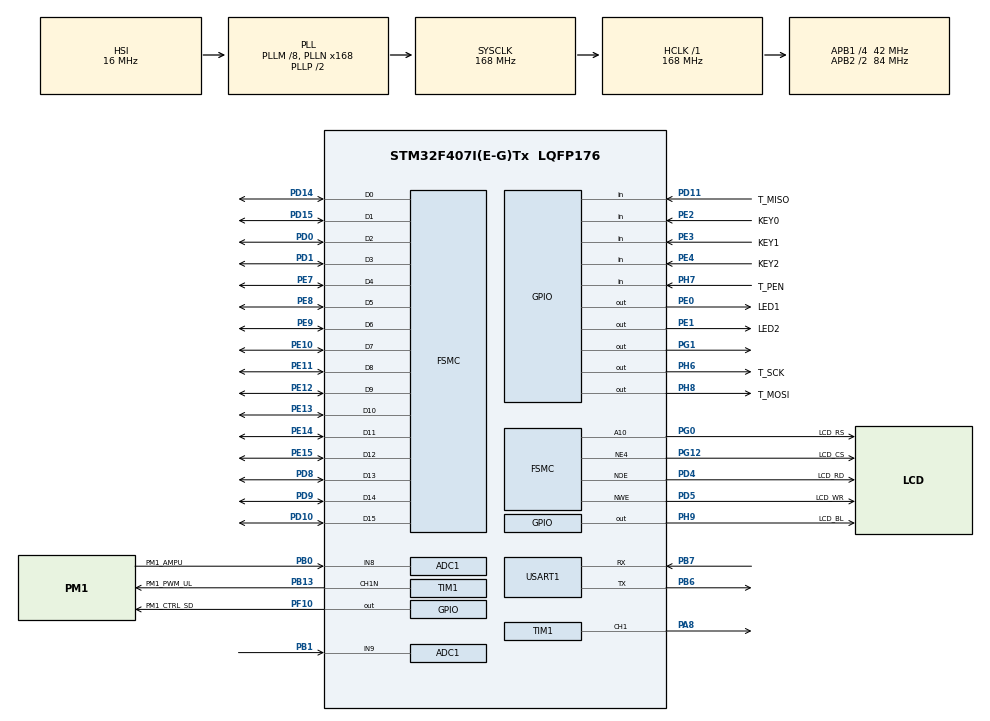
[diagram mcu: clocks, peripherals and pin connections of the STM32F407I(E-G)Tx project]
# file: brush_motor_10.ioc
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ADC1.Channel-0\#ChannelRegularConversion=ADC_CHANNEL_9
ADC1.Channel-1\#ChannelInjectedConversion=ADC_CHANNEL_8
ADC1.ContinuousConvMode=DISABLE
ADC1.DMAContinuousRequests=DISABLE
ADC1.ExternalTrigInjecConv=ADC_EXTERNALTRIGINJECCONV_T1_TRGO
ADC1.InjNumberOfConversion=1
ADC1.InjectedOffset-1\#ChannelInjectedConversion=0
ADC1.InjectedRank-1\#ChannelInjectedConversion=1
ADC1.NbrOfConversion=1
ADC1.NbrOfConversionFlag=1
ADC1.Rank-0\#ChannelRegularConversion=1
ADC1.SamplingTime-0\#ChannelRegularConversion=ADC_SAMPLETIME_28CYCLES
ADC1.SamplingTime-1\#ChannelInjectedConversion=ADC_SAMPLETIME_28CYCLES
ADC1.ScanConvMode=DISABLE
ADC1.master=1
FSMC.AccessMode4=FSMC_ACCESS_MODE_A
FSMC.AddressSetupTime4=2
FSMC.BusTurnAroundDuration4=0
FSMC.DataSetupTime4=5
FSMC.ExtendedAccessMode4=FSMC_ACCESS_MODE_A
FSMC.ExtendedAddressSetupTime4=0
FSMC.ExtendedBusTurnAroundDuration4=0
FSMC.ExtendedDataSetupTime4=255
FSMC.ExtendedMode4=FSMC_EXTENDED_MODE_ENABLE
FSMC.NSBank4=FSMC_NORSRAM_BANK4
FSMC.WriteOperation4=FSMC_WRITE_OPERATION_ENABLE
Mcu.Family=STM32F4
Mcu.Name=STM32F407I(E-G)Tx
Mcu.Package=LQFP176
NVIC.ADC_IRQn=true\:1\:0\:true\:false\:true\:true\:true\:true
NVIC.PriorityGroup=NVIC_PRIORITYGROUP_4
PA13.Mode=Serial_Wire
PA13.Signal=SYS_JTMS-SWDIO
PA14.Mode=Serial_Wire
PA14.Signal=SYS_JTCK-SWCLK
PA8.Signal=S_TIM1_CH1
PB0.GPIO_Label=PM1_AMPU
PB0.Signal=ADCx_IN8
PB1.Signal=ADCx_IN9
PB13.GPIO_Label=PM1_PWM_UL
PB13.GPIO_PuPd=GPIO_NOPULL
PB13.GPIO_Speed=GPIO_SPEED_FREQ_HIGH
PB13.Mode=PWM Generation1 CH1 CH1N
PB13.Signal=TIM1_CH1N
PB6.Mode=Asynchronous
PB6.Signal=USART1_TX
PB7.Mode=Asynchronous
PB7.Signal=USART1_RX
PC14-OSC32_IN.Mode=LSE-External-Oscillator
PC14-OSC32_IN.Signal=RCC_OSC32_IN
PC15-OSC32_OUT.Mode=LSE-External-Oscillator
PC15-OSC32_OUT.Signal=RCC_OSC32_OUT
PC6.GPIO_Label=PM1_ENCA
PC6.GPIO_Speed=GPIO_SPEED_FREQ_HIGH
PC6.Signal=S_TIM3_CH1
PD0.GPIO_PuPd=GPIO_PULLUP
PD0.Signal=FSMC_D2_DA2
PD1.GPIO_PuPd=GPIO_PULLUP
PD1.Signal=FSMC_D3_DA3
PD10.GPIO_PuPd=GPIO_PULLUP
PD10.Signal=FSMC_D15_DA15
PD11.GPIO_Label=T_MISO
PD11.Signal=GPIO_Input
PD14.GPIO_PuPd=GPIO_PULLUP
PD14.Signal=FSMC_D0_DA0
PD15.GPIO_PuPd=GPIO_PULLUP
PD15.Signal=FSMC_D1_DA1
PD4.GPIO_Label=LCD_RD
PD4.GPIO_PuPd=GPIO_PULLUP
PD4.Signal=FSMC_NOE
PD5.GPIO_Label=LCD_WR
PD5.GPIO_PuPd=GPIO_PULLUP
PD5.Signal=FSMC_NWE
PD8.GPIO_PuPd=GPIO_PULLUP
PD8.Signal=FSMC_D13_DA13
PD9.GPIO_PuPd=GPIO_PULLUP
PD9.Signal=FSMC_D14_DA14
PE0.GPIO_Label=LED1
PE0.PinState=GPIO_PIN_SET
PE0.Signal=GPIO_Output
PE1.GPIO_Label=LED2
PE1.PinState=GPIO_PIN_SET
PE1.Signal=GPIO_Output
PE10.GPIO_PuPd=GPIO_PULLUP
PE10.Signal=FSMC_D7_DA7
PE11.GPIO_PuPd=GPIO_PULLUP
PE11.Signal=FSMC_D8_DA8
PE12.GPIO_PuPd=GPIO_PULLUP
PE12.Signal=FSMC_D9_DA9
PE13.GPIO_PuPd=GPIO_PULLUP
PE13.Signal=FSMC_D10_DA10
PE14.GPIO_PuPd=GPIO_PULLUP
PE14.Signal=FSMC_D11_DA11
PE15.GPIO_PuPd=GPIO_PULLUP
PE15.Signal=FSMC_D12_DA12
PE2.GPIO_Label=KEY0
PE2.GPIO_PuPd=GPIO_PULLUP
PE2.Signal=GPIO_Input
PE3.GPIO_Label=KEY1
PE3.GPIO_PuPd=GPIO_PULLUP
PE3.Signal=GPIO_Input
PE4.GPIO_Label=KEY2
PE4.GPIO_PuPd=GPIO_PULLUP
PE4.Signal=GPIO_Input
PE7.GPIO_PuPd=GPIO_PULLUP
PE7.Signal=FSMC_D4_DA4
PE8.GPIO_PuPd=GPIO_PULLUP
PE8.Signal=FSMC_D5_DA5
PE9.GPIO_PuPd=GPIO_PULLUP
PE9.Signal=FSMC_D6_DA6
PF10.GPIO_Label=PM1_CTRL_SD
PF10.Signal=GPIO_Output
PG0.GPIO_Label=LCD_RS
PG0.GPIO_PuPd=GPIO_PULLUP
PG0.Signal=FSMC_A10
PG1.Signal=GPIO_Output
PG12.GPIO_Label=LCD_CS
PG12.GPIO_PuPd=GPIO_PULLUP
PG12.Mode=NorPsramChipSelect4_4
PG12.Signal=FSMC_NE4
PH0-OSC_IN.Mode=HSE-External-Oscillator
PH0-OSC_IN.Signal=RCC_OSC_IN
PH1-OSC_OUT.Mode=HSE-External-Oscillator
PH1-OSC_OUT.Signal=RCC_OSC_OUT
PH13.Signal=TIM8_CH1N
PH6.GPIO_Label=T_SCK
PH6.Signal=GPIO_Output
PH7.GPIO_Label=T_PEN
PH7.Signal=GPIO_Input
PH8.GPIO_Label=T_MOSI
PH8.Signal=GPIO_Output
PH9.GPIO_Label=LCD_BL
PH9.Signal=GPIO_Output
ProjectManager.HeapSize=0x200
ProjectManager.StackSize=0x400
ProjectManager.TargetToolchain=MDK-ARM V5.27
RCC.48MHZClocksFreq_Value=84000000
RCC.AHBFreq_Value=168000000
RCC.APB1CLKDivider=RCC_HCLK_DIV4
RCC.APB1Freq_Value=42000000
RCC.APB1TimFreq_Value=84000000
RCC.APB2CLKDivider=RCC_HCLK_DIV2
RCC.APB2Freq_Value=84000000
RCC.APB2TimFreq_Value=168000000
RCC.CortexFreq_Value=168000000
RCC.FLatency=FLASH_LATENCY_5
RCC.HCLKFreq_Value=168000000
RCC.HSE_VALUE=25000000
RCC.HSI_VALUE=16000000
RCC.PLLM=8
RCC.PLLN=168
RCC.SYSCLKFreq_VALUE=168000000
RCC.SYSCLKSource=RCC_SYSCLKSOURCE_PLLCLK
RCC.VCOOutputFreq_Value=336000000
SH.ADCx_IN8.0=ADC1_IN8,IN8
SH.ADCx_IN9.0=ADC1_IN9,IN9
SH.FSMC_A10.0=FSMC_A10,A10_4
SH.FSMC_D0_DA0.0=FSMC_D0,16b-d4
SH.FSMC_D10_DA10.0=FSMC_D10,16b-d4
SH.FSMC_D11_DA11.0=FSMC_D11,16b-d4
SH.FSMC_D12_DA12.0=FSMC_D12,16b-d4
SH.FSMC_D13_DA13.0=FSMC_D13,16b-d4
SH.FSMC_D14_DA14.0=FSMC_D14,16b-d4
SH.FSMC_D15_DA15.0=FSMC_D15,16b-d4
SH.FSMC_D1_DA1.0=FSMC_D1,16b-d4
SH.FSMC_D2_DA2.0=FSMC_D2,16b-d4
SH.FSMC_D3_DA3.0=FSMC_D3,16b-d4
SH.FSMC_D4_DA4.0=FSMC_D4,16b-d4
SH.FSMC_D5_DA5.0=FSMC_D5,16b-d4
SH.FSMC_D6_DA6.0=FSMC_D6,16b-d4
SH.FSMC_D7_DA7.0=FSMC_D7,16b-d4
SH.FSMC_D8_DA8.0=FSMC_D8,16b-d4
SH.FSMC_D9_DA9.0=FSMC_D9,16b-d4
SH.FSMC_NOE.0=FSMC_NOE,Lcd4
SH.FSMC_NWE.0=FSMC_NWE,Lcd4
SH.S_TIM1_CH1.0=TIM1_CH1,PWM Generation1 CH1 CH1N
SH.S_TIM3_CH1.0=TIM3_CH1
TIM1.Channel-PWM\ Generation1\ CH1\ CH1N=TIM_CHANNEL_1
TIM1.CounterMode=TIM_COUNTERMODE_CENTERALIGNED1
TIM1.Period=8366
TIM1.Prescaler=1
TIM1.TIM_MasterOutputTrigger=TIM_TRGO_UPDATE
TIM1.TIM_MasterSlaveMode=TIM_MASTERSLAVEMODE_ENABLE
USART1.VirtualMode=VM_ASYNC
VP_TIM1_VS_ClockSourceINT.Mode=Internal
board=custom

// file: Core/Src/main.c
/* USER CODE BEGIN Header */
/**
 ******************************************************************************
 * @file           : main.c
 * @brief          : Main program body
 ******************************************************************************
 */
/* USER CODE END Header */
#include "main.h"
#include "adc.h"
#include "tim.h"
#include "usart.h"
#include "gpio.h"
#include "fsmc.h"

/* USER CODE BEGIN Includes */
#include <stdlib.h>
#include <stdio.h>
#include "bsp_lcd.h"
#include "bsp_key_led.h"
#include "bsp_brush_motor.h"
#include "bsp_current_sensor.h"
/* USER CODE END Includes */

/* USER CODE BEGIN PV */
/* PM1电机配置：TIM1 CH1 (PA8) / CH1N (PB13)，IR2104半桥驱动 */
BrushMotorConfig pm1_motor = {
    .htim         = &htim1,
    .tim_channel  = TIM_CHANNEL_1,
    .tim_arr      = 8367,            /* Period=8366, ARR+1=8367，用于占空比%计算 */
    .sd_port      = PM1_CTRL_SD_GPIO_Port,
    .sd_pin       = PM1_CTRL_SD_Pin  /* PF10，IR2104 shutdown */
};

int16_t duty_percent  = 0;    /* 当前占空比，正数=正转，负数=反转，0=停止 */
int8_t  duty_step     = 20;   /* 每次按键的占空比步进值 */
uint8_t motor_running = 0;    /* 电机运行标志 */
extern uint32_t adc_injected_data; /* adc.c中定义的注入通道转换结果 */
/* USER CODE END PV */

void SystemClock_Config(void);

int main(void)
{

  /* MCU Configuration--------------------------------------------------------*/

  /* Reset of all peripherals, Initializes the Flash interface and the Systick. */
  HAL_Init();

  /* Configure the system clock */
  SystemClock_Config();

  /* Initialize all configured peripherals */
  MX_GPIO_Init();
  MX_FSMC_Init();
  MX_USART1_UART_Init();
  MX_ADC1_Init();
  MX_TIM1_Init();
  /* USER CODE BEGIN 2 */
  DWT_Init();
  Key_Init();
  Led_Init();
  lcd_init();

  lcd_show_string(100, 10, 300, 32, 32, "Dr.GAO-Motor-1", RED);
  lcd_show_string(10, 60, 450, 24, 24, "Chap11: Open-Loop Current Demo", BLUE);

  /*
   * 初始化流程说明：
   * 1. 启动TIM1基本定时器，TRGO（更新事件）触发ADC注入转换
   * 2. 初始化电机（SD拉低、PWM停止）
   * 3. 设置正转方向 + 0%占空比，使能SD让下桥臂导通 → 电流采样回路闭合
   * 4. 校准电流零漂（软件触发阻塞采集）
   * 5. 校准完成后关闭电机，等待按键操作
   */

  HAL_TIM_Base_Start(pm1_motor.htim);
  HAL_Delay(10);

  BrushMotor_Init(&pm1_motor);

  BrushMotor_SetDirection(MOTOR_FORWARD);
  BrushMotor_SetSpeed(0);

  BrushMotor_Enable();
  HAL_Delay(500);

  lcd_show_string(10, 240, 400, 24, 24, "Calibrating zero offset...", RED);
  BSP_CurrentSensor_Init();
  lcd_show_string(10, 240, 400, 24, 24, "Zero offset calibrated.    ", GREEN);

  BrushMotor_Disable();
  /* USER CODE END 2 */

  /* Infinite loop */
  /* USER CODE BEGIN WHILE */
  KeyPressedID key_id = KEY_None;
  char buffer[50];
  uint16_t send_cnt = 0;
  uint8_t prev_running = 0; /* 上一帧运行状态，避免重复调HAL */
  uint8_t prev_duty    = 0; /* 上一帧占空比 */

  while (1)
  {
    key_id = Key_Scan();

    /* ---- KEY0：启动/调速，占空比在 -100 ~ +100 之间循环 ---- */
    if (key_id == KEY0_Pressed)
    {
      Led_Toggle(LED1);
      motor_running = 1;

      duty_percent += duty_step;
      if (duty_percent >= 100)
      {
        duty_percent = 100;
        duty_step = -20;
      }
      else if (duty_percent <= -100)
      {
        duty_percent = -100;
        duty_step = 20;
      }

      if (duty_percent > 0)
        lcd_show_string(10, 90, 400, 24, 24, "KEY0: Forward             ", BLUE);
      else if (duty_percent < 0)
        lcd_show_string(10, 90, 400, 24, 24, "KEY0: Reverse             ", BLUE);
      else
        lcd_show_string(10, 90, 400, 24, 24, "KEY0: Stop                ", BLUE);
    }
    /* ---- KEY1：停止电机并重新校准零漂 ---- */
    else if (key_id == KEY1_Pressed)
    {
      lcd_show_string(10, 90, 400, 24, 24, "KEY1: Motor Stop         ", BLUE);
      Led_Toggle(LED2);
      duty_percent = 0;
      motor_running = 0;

      /* 占空比置0、SD拉高，使下桥臂导通→电流回路闭合→可校准 */
      BrushMotor_SetSpeed(0);
      BrushMotor_Enable();
      HAL_Delay(10);

      BSP_CurrentSensor_CalibrateOffset();

      BrushMotor_Disable();
    }
    /* ---- KEY2：运行中校准零漂（电机不停） ---- */
    else if (key_id == KEY2_Pressed)
    {
      lcd_show_string(10, 90, 400, 24, 24, "KEY2: CalibrateOffset    ", BLUE);

      BrushMotor_SetSpeed(0);
      BrushMotor_Enable();
      HAL_Delay(10);

      BSP_CurrentSensor_CalibrateOffset();

      if (!motor_running)
      {
        BrushMotor_Disable();
      }
    }

    /* ---- 电机控制：仅在状态变化时执行，避免每50ms重复调HAL ---- */
    if (motor_running)
    {
      if (duty_percent != 0)
      {
        if (!prev_running || prev_duty != duty_percent)
        {
          /* 先设方向（内部Stop→Stop→Start），再设速度。
             如果先SetSpeed再SetDirection，SetDirection内部会把CCR清零。 */
          if (duty_percent > 0)
          {
            BrushMotor_SetDirection(MOTOR_FORWARD);
          }
          else
          {
            BrushMotor_SetDirection(MOTOR_REVERSE);
          }

          BrushMotor_SetSpeed(abs(duty_percent));

          BrushMotor_Enable();
        }
      }
      else
      {
        BrushMotor_Disable();
      }
    }
    else
    {
      BrushMotor_Disable();
    }

    prev_running = motor_running;
    prev_duty    = duty_percent;

    /* ---- LCD显示，每50ms刷新 ---- */
    {
      float current_ma = BSP_CurrentSensor_GetCurrent();

      sprintf(buffer, "Duty: %d%%            ", duty_percent);
      lcd_show_string(10, 120, 400, 24, 24, buffer, BLUE);

      sprintf(buffer, "Offset: %.1f    ", BSP_CurrentSensor_GetOffset());
      lcd_show_string(10, 150, 400, 24, 24, buffer, BLUE);

      sprintf(buffer, "Current: %.1f mA    ", motor_running ? current_ma : 0.0f);
      lcd_show_string(10, 180, 400, 24, 24, buffer, BLUE);

      sprintf(buffer, "ADC Raw: %u         ", adc_injected_data);
      lcd_show_string(10, 210, 400, 24, 24, buffer, BLUE);
    }

    /* ---- 串口发送，每500ms一次 ---- */
    if (++send_cnt >= 10)
    {
      send_cnt = 0;
      float current_ma = BSP_CurrentSensor_GetCurrent();
      sprintf(buffer, "Duty:%d%%, Current:%.1f mA\r\n", duty_percent, current_ma);
      USART_SendString(buffer);
    }

    HAL_Delay(50);
    /* USER CODE END WHILE */

  }
}

void SystemClock_Config(void)
{
  RCC_OscInitTypeDef RCC_OscInitStruct = {0};
  RCC_ClkInitTypeDef RCC_ClkInitStruct = {0};

  /** Configure the main internal regulator output voltage
  */
  __HAL_RCC_PWR_CLK_ENABLE();
  __HAL_PWR_VOLTAGESCALING_CONFIG(PWR_REGULATOR_VOLTAGE_SCALE1);

  /** Initializes the RCC Oscillators according to the specified parameters
  * in the RCC_OscInitTypeDef structure.
  */
  RCC_OscInitStruct.OscillatorType = RCC_OSCILLATORTYPE_HSI;
  RCC_OscInitStruct.HSIState = RCC_HSI_ON;
  RCC_OscInitStruct.HSICalibrationValue = RCC_HSICALIBRATION_DEFAULT;
  RCC_OscInitStruct.PLL.PLLState = RCC_PLL_ON;
  RCC_OscInitStruct.PLL.PLLSource = RCC_PLLSOURCE_HSI;
  RCC_OscInitStruct.PLL.PLLM = 8;
  RCC_OscInitStruct.PLL.PLLN = 168;
  RCC_OscInitStruct.PLL.PLLP = RCC_PLLP_DIV2;
  RCC_OscInitStruct.PLL.PLLQ = 4;
  if (HAL_RCC_OscConfig(&RCC_OscInitStruct) != HAL_OK)
  {
    Error_Handler();
  }

  /** Initializes the CPU, AHB and APB buses clocks
  */
  RCC_ClkInitStruct.ClockType = RCC_CLOCKTYPE_HCLK|RCC_CLOCKTYPE_SYSCLK
                              |RCC_CLOCKTYPE_PCLK1|RCC_CLOCKTYPE_PCLK2;
  RCC_ClkInitStruct.SYSCLKSource = RCC_SYSCLKSOURCE_PLLCLK;
  RCC_ClkInitStruct.AHBCLKDivider = RCC_SYSCLK_DIV1;
  RCC_ClkInitStruct.APB1CLKDivider = RCC_HCLK_DIV4;
  RCC_ClkInitStruct.APB2CLKDivider = RCC_HCLK_DIV2;

  if (HAL_RCC_ClockConfig(&RCC_ClkInitStruct, FLASH_LATENCY_5) != HAL_OK)
  {
    Error_Handler();
  }
}

/* USER CODE BEGIN 4 */
void HAL_TIM_PeriodElapsedCallback(TIM_HandleTypeDef *htim)
{
  if (htim->Instance == TIM3 || htim->Instance == TIM2)
  {
    /* 编码器溢出回调（后续案例使用） */
  }
}
/* USER CODE END 4 */

void Error_Handler(void)
{
  __disable_irq();
  while (1)
  {
  }
}
